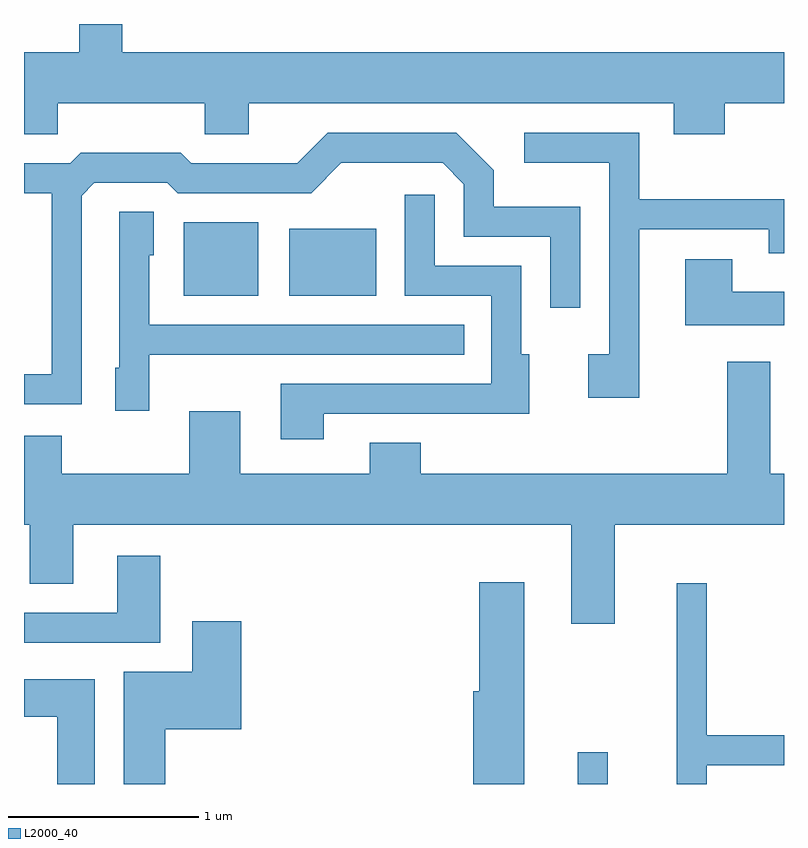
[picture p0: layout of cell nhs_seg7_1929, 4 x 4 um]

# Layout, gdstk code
import gdstk
lib = gdstk.Library(unit=1e-6, precision=1e-09)
def R(c, l, rs):  # rectangles x0, y0, x1, y1
    for r in rs: c.add(gdstk.rectangle(r[:2], r[2:], *l))
def P(c, l, *ps):  # polygons
    for p in ps: c.add(gdstk.Polygon(p, *l))
L2000_40 = (2000, 40)

nhs_seg7_1929 = lib.new_cell('nhs_seg7_1929')
R(nhs_seg7_1929, L2000_40, [(246.526,1746.252,246.684,1746.418), (244.451,1748.821,244.844,1749.209), (245.006,1748.821,245.464,1749.174)])
P(nhs_seg7_1929, L2000_40, [(243.789,1749.836),(244.561,1749.836),(244.561,1749.671),(244.794,1749.671),(244.794,1749.836),(247.031,1749.836),(247.031,1749.671),(247.299,1749.671),(247.299,1749.836),(247.611,1749.836),(247.611,1750.104),(244.129,1750.104),(244.129,1750.252),(243.901,1750.252),(243.901,1750.104),(243.611,1750.104),(243.611,1749.671),(243.789,1749.671)],
  [(243.914,1749.349),(243.982,1749.416),(244.364,1749.416),(244.419,1749.361),(245.122,1749.361),(245.282,1749.521),(245.814,1749.521),(245.926,1749.409),(245.926,1749.131),(246.381,1749.131),(246.381,1748.758),(246.539,1748.758),(246.539,1749.289),(246.084,1749.289),(246.084,1749.482),(245.887,1749.679),(245.209,1749.679),(245.049,1749.519),(244.492,1749.519),(244.437,1749.574),(243.909,1749.574),(243.854,1749.519),(243.611,1749.519),(243.611,1749.361),(243.756,1749.361),(243.756,1748.409),(243.611,1748.409),(243.611,1748.251),(243.914,1748.251)],
  [(246.849,1749.171),(247.531,1749.171),(247.531,1749.046),(247.611,1749.046),(247.611,1749.329),(246.849,1749.329),(246.849,1749.679),(246.243,1749.679),(246.243,1749.521),(246.691,1749.521),(246.691,1748.514),(246.581,1748.514),(246.581,1748.286),(246.849,1748.286)],
  [(245.189,1748.201),(246.269,1748.201),(246.269,1748.514),(246.229,1748.514),(246.229,1748.979),(245.774,1748.979),(245.774,1749.353),(245.616,1749.353),(245.616,1748.821),(246.071,1748.821),(246.071,1748.359),(244.961,1748.359),(244.961,1748.066),(245.189,1748.066)],
  [(244.269,1748.511),(245.928,1748.511),(245.928,1748.669),(244.269,1748.669),(244.269,1749.036),(244.294,1749.036),(244.294,1749.264),(244.111,1749.264),(244.111,1748.444),(244.091,1748.444),(244.091,1748.216),(244.269,1748.216)],
  [(247.611,1748.844),(247.339,1748.844),(247.339,1749.014),(247.091,1749.014),(247.091,1748.666),(247.611,1748.666)],
  [(247.611,1747.884),(247.539,1747.884),(247.539,1748.474),(247.311,1748.474),(247.311,1747.884),(245.699,1747.884),(245.699,1748.049),(245.431,1748.049),(245.431,1747.884),(244.749,1747.884),(244.749,1748.214),(244.481,1748.214),(244.481,1747.884),(243.809,1747.884),(243.809,1748.084),(243.611,1748.084),(243.611,1747.616),(243.641,1747.616),(243.641,1747.306),(243.869,1747.306),(243.869,1747.616),(246.491,1747.616),(246.491,1747.096),(246.719,1747.096),(246.719,1747.616),(247.611,1747.616)],
  [(244.329,1747.454),(244.101,1747.454),(244.101,1747.154),(243.611,1747.154),(243.611,1746.996),(244.329,1746.996)],
  [(246.244,1747.314),(246.006,1747.314),(246.006,1746.739),(245.976,1746.739),(245.976,1746.252),(246.244,1746.252)],
  [(247.204,1746.351),(247.611,1746.351),(247.611,1746.509),(247.204,1746.509),(247.204,1747.308),(247.046,1747.308),(247.046,1746.252),(247.204,1746.252)],
  [(244.354,1746.541),(244.754,1746.541),(244.754,1747.109),(244.496,1747.109),(244.496,1746.844),(244.136,1746.844),(244.136,1746.252),(244.354,1746.252)],
  [(243.984,1746.804),(243.611,1746.804),(243.611,1746.606),(243.786,1746.606),(243.786,1746.252),(243.984,1746.252)])

lib.write_gds('nhs_seg7_1929.gds')
